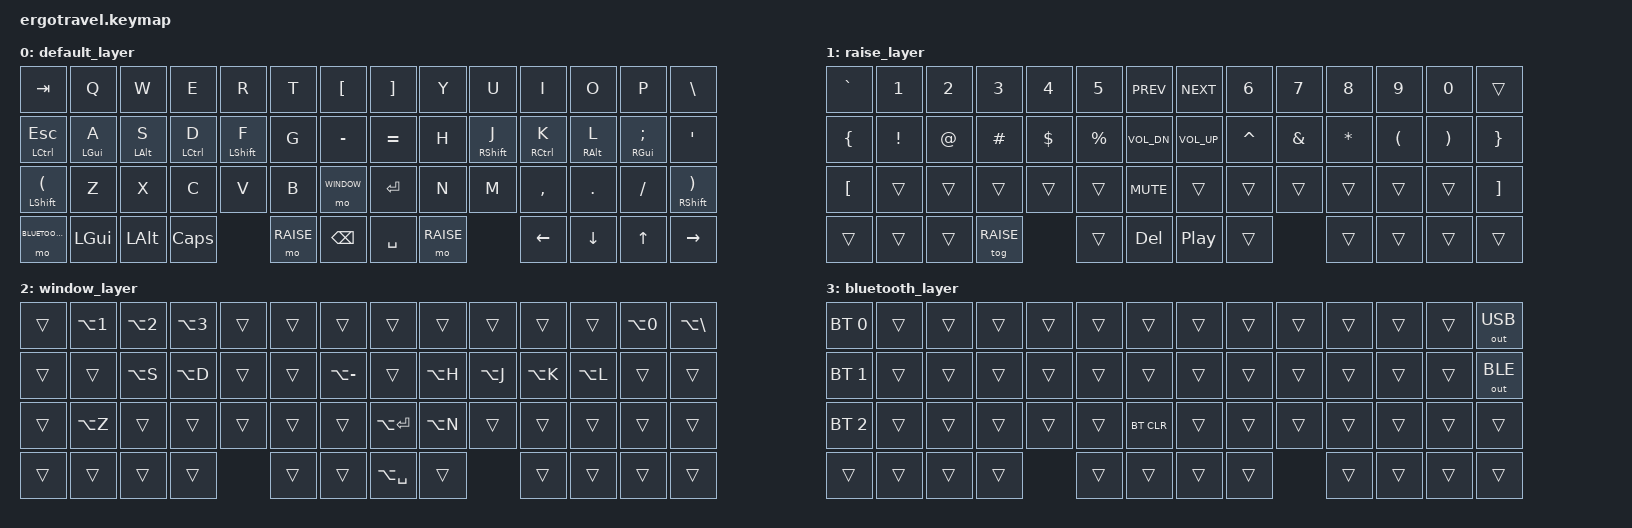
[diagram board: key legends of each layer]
/*
 * Copyright (c) 2020 The ZMK Contributors
 *
 * SPDX-License-Identifier: MIT
 */
#include <behaviors.dtsi>
#include <dt-bindings/zmk/keys.h>
#include <dt-bindings/zmk/bt.h>
#include <dt-bindings/zmk/ext_power.h>
#include <dt-bindings/zmk/outputs.h>

#define DEFAULT 0
#define RAISE 1
#define WINDOW 2
#define BLUETOOTH 3

/ {
	behaviors {
		hm: homerow_mods {
			compatible = "zmk,behavior-hold-tap";
			label = "HOMEROW_MODS";
			#binding-cells = <2>;
			tapping-term-ms = <150>;
			quick_tap_ms = <0>;
			flavor = "tap-preferred";
			bindings = <&kp>, <&kp>;
		};
  };

	keymap {
		compatible = "zmk,keymap";

		default_layer {
    bindings = <
&kp TAB        &kp Q      &kp W      &kp E        &kp R       &kp T     &kp LBKT        &kp RBKT  &kp Y     &kp U       &kp I       &kp O      &kp P         &kp BSLH 
&mt LCTRL ESC  &hm LGUI A &hm LALT S &hm LCTRL D  &hm LSHFT F &kp G     &kp MINUS       &kp EQUAL &kp H     &hm RSHFT J &hm RCTRL K &hm RALT L &hm RGUI SEMI &kp SINGLE_QUOTE 
&mt LSHFT LPAR &kp Z      &kp X      &kp C        &kp V       &kp B     &mo WINDOW      &kp ENTER &kp N     &kp M       &kp COMMA   &kp DOT    &kp FSLH      &mt RSHFT RPAR
&mo BLUETOOTH  &kp LGUI   &kp LALT   &kp CAPSLOCK             &mo RAISE &kp BSPC        &kp SPC   &mo RAISE             &kp LEFT    &kp DOWN   &kp UP        &kp RIGHT
>;
		};

    raise_layer {
    bindings = <
&kp GRAVE &kp N1   &kp N2 &kp N3     &kp N4   &kp N5    &kp C_PREV         &kp C_NEXT       &kp N6    &kp N7   &kp N8     &kp N9   &kp N0   &trans
&kp LBRC  &kp EXCL &kp AT &kp HASH   &kp DLLR &kp PRCNT &kp C_VOL_DN       &kp C_VOL_UP     &kp CARET &kp AMPS &kp STAR   &kp LPAR &kp RPAR &kp RBRC
&kp LBKT  &trans   &trans &trans     &trans   &trans    &kp C_MUTE         &trans           &trans    &trans   &trans     &trans   &trans   &kp RBKT
&trans    &trans   &trans &tog RAISE          &trans    &kp DEL            &kp C_PLAY_PAUSE &trans             &trans     &trans   &trans   &trans
>;
    };

    window_layer {
    bindings = <
&trans &kp LA(N1) &kp LA(N2) &kp LA(N3) &trans &trans &trans              &trans        &trans    &trans    &trans    &trans    &kp LA(N0) &kp LA(BSLH)
&trans &trans     &kp LA(S)  &kp LA(D)  &trans &trans &kp LA(MINUS)       &trans        &kp LA(H) &kp LA(J) &kp LA(K) &kp LA(L) &trans     &trans
&trans &kp LA(Z)  &trans     &trans     &trans &trans &trans              &kp LA(ENTER) &kp LA(N) &trans    &trans    &trans    &trans     &trans
&trans &trans     &trans     &trans            &trans &trans              &kp LA(SPC)   &trans              &trans    &trans    &trans     &trans
>;
    };

    bluetooth_layer {
    bindings = <
&bt BT_SEL 0 &trans &trans &trans &trans &trans &trans              &trans &trans &trans &trans &trans &trans &out OUT_USB
&bt BT_SEL 1 &trans &trans &trans &trans &trans &trans              &trans &trans &trans &trans &trans &trans &out OUT_BLE
&bt BT_SEL 2 &trans &trans &trans &trans &trans &bt BT_CLR          &trans &trans &trans &trans &trans &trans &trans
&trans       &trans &trans &trans        &trans &trans              &trans &trans        &trans &trans &trans &trans
>;
    };
	};
};
